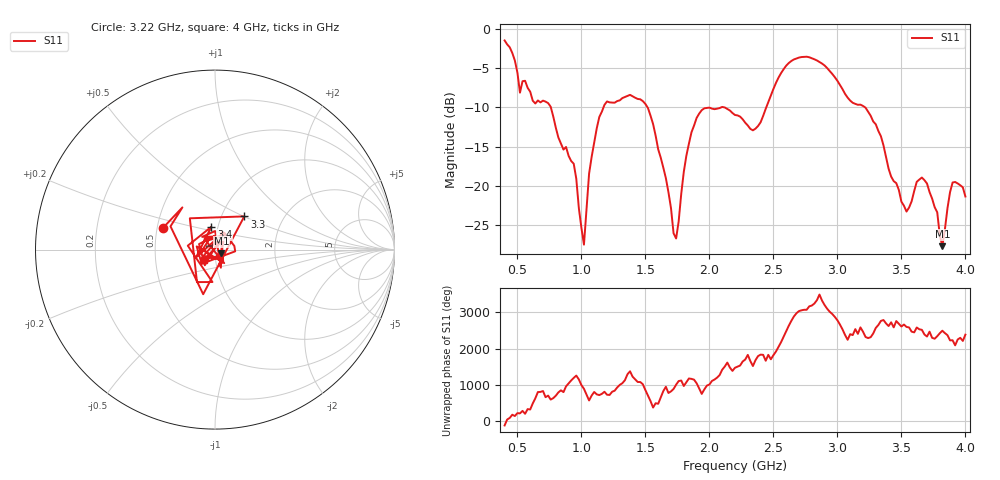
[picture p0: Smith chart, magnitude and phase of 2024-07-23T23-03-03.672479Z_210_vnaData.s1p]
!Created with skrf (http://scikit-rf.org).
# Hz S RI R 50.0
!freq ReS11 ImS11
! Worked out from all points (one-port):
!   181 points, 400 MHz to 4 GHz, reference 50 ohm
!   lowest |S11| = -27.7 dB at 3.82 GHz (marker M1), VSWR 1.09, Z = 53.7 - j2.15 ohm
!   |S11| at or under -10 dB: 761.4 MHz to 1.173 GHz (411.1 MHz wide, 42.5 % of centre); 1.517 GHz to 2.092 GHz (574.8 MHz wide, 31.9 % of centre); 3.217 GHz to end of sweep (the widest 3 of 4)
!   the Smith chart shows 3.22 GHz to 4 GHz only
!   S11 on the Smith chart (normalised r, x): 3.22 GHz: 0.54, +0.14; 3.3 GHz: 1.28, +0.50; 3.4 GHz: 0.93, +0.24; 4 GHz: 0.88, -0.10
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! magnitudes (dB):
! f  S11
! 400 MHz  -1.5
! 520 MHz  -8.1
! 740 MHz  -9.5
! 860 MHz  -15.4
! 940 MHz  -17.2
! 1.02 GHz  -27.5
! 1.06 GHz  -18.4
! 1.14 GHz  -11.2
! 1.3 GHz  -9.1
! 1.52 GHz  -10.1
! 1.66 GHz  -19.0
! 1.72 GHz  -26.0
! 1.76 GHz  -24.5
! 1.82 GHz  -16.2
! 1.9 GHz  -11.3
! 2.2 GHz  -11.0
! 2.36 GHz  -12.7
! 2.66 GHz  -3.9
! 2.88 GHz  -4.4
! 3.1 GHz  -9.1
! 3.22 GHz  -10.0
! 3.3 GHz  -12.2
! 3.4 GHz  -17.8
! 3.56 GHz  -22.8
! 3.68 GHz  -19.3
! 3.82 GHz  -27.7
! 3.9 GHz  -19.6
! 4 GHz  -21.4
